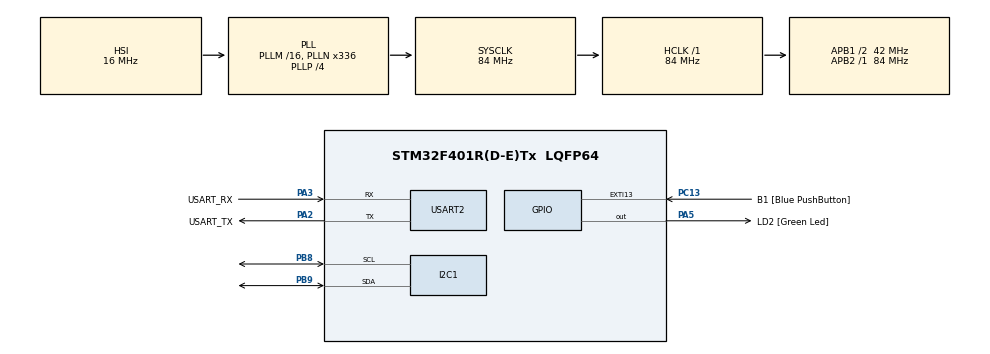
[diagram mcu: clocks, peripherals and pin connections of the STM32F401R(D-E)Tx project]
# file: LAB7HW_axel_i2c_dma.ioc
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Dma.I2C1_RX.0.Direction=DMA_PERIPH_TO_MEMORY
Dma.I2C1_RX.0.FIFOMode=DMA_FIFOMODE_DISABLE
Dma.I2C1_RX.0.Instance=DMA1_Stream0
Dma.I2C1_RX.0.MemDataAlignment=DMA_MDATAALIGN_BYTE
Dma.I2C1_RX.0.MemInc=DMA_MINC_ENABLE
Dma.I2C1_RX.0.Mode=DMA_NORMAL
Dma.I2C1_RX.0.PeriphDataAlignment=DMA_PDATAALIGN_BYTE
Dma.I2C1_RX.0.PeriphInc=DMA_PINC_DISABLE
Dma.I2C1_RX.0.Priority=DMA_PRIORITY_LOW
Dma.Request0=I2C1_RX
Dma.Request1=USART2_TX
Dma.USART2_TX.1.Direction=DMA_MEMORY_TO_PERIPH
Dma.USART2_TX.1.FIFOMode=DMA_FIFOMODE_DISABLE
Dma.USART2_TX.1.Instance=DMA1_Stream6
Dma.USART2_TX.1.MemDataAlignment=DMA_MDATAALIGN_BYTE
Dma.USART2_TX.1.MemInc=DMA_MINC_ENABLE
Dma.USART2_TX.1.Mode=DMA_NORMAL
Dma.USART2_TX.1.PeriphDataAlignment=DMA_PDATAALIGN_BYTE
Dma.USART2_TX.1.PeriphInc=DMA_PINC_DISABLE
Dma.USART2_TX.1.Priority=DMA_PRIORITY_LOW
Mcu.Family=STM32F4
Mcu.Name=STM32F401R(D-E)Tx
Mcu.Package=LQFP64
NVIC.DMA1_Stream0_IRQn=true\:0\:0\:false\:false\:true\:false\:true
NVIC.DMA1_Stream6_IRQn=true\:0\:0\:false\:false\:true\:false\:true
NVIC.I2C1_ER_IRQn=true\:0\:0\:false\:false\:true\:true\:true
NVIC.I2C1_EV_IRQn=true\:0\:0\:false\:false\:true\:true\:true
NVIC.PriorityGroup=NVIC_PRIORITYGROUP_0
NVIC.TIM1_UP_TIM10_IRQn=true\:0\:0\:false\:false\:true\:true\:true
NVIC.USART2_IRQn=true\:0\:0\:false\:false\:true\:true\:true
PA13.GPIO_Label=TMS
PA13.Mode=Serial_Wire
PA13.Signal=SYS_JTMS-SWDIO
PA14.GPIO_Label=TCK
PA14.Mode=Serial_Wire
PA14.Signal=SYS_JTCK-SWCLK
PA2.GPIO_Label=USART_TX
PA2.GPIO_Mode=GPIO_MODE_AF_PP
PA2.GPIO_PuPd=GPIO_NOPULL
PA2.GPIO_Speed=GPIO_SPEED_FREQ_LOW
PA2.Mode=Asynchronous
PA2.Signal=USART2_TX
PA3.GPIO_Label=USART_RX
PA3.GPIO_Mode=GPIO_MODE_AF_PP
PA3.GPIO_PuPd=GPIO_NOPULL
PA3.GPIO_Speed=GPIO_SPEED_FREQ_LOW
PA3.Mode=Asynchronous
PA3.Signal=USART2_RX
PA5.GPIO_Label=LD2 [Green Led]
PA5.GPIO_Mode=GPIO_MODE_OUTPUT_PP
PA5.GPIO_PuPd=GPIO_NOPULL
PA5.GPIO_Speed=GPIO_SPEED_FREQ_LOW
PA5.Signal=GPIO_Output
PB3.GPIO_Label=SWO
PB3.Signal=SYS_JTDO-SWO
PB8.Mode=I2C
PB8.Signal=I2C1_SCL
PB9.Mode=I2C
PB9.Signal=I2C1_SDA
PC13-ANTI_TAMP.GPIO_Label=B1 [Blue PushButton]
PC13-ANTI_TAMP.GPIO_ModeDefaultEXTI=GPIO_MODE_IT_FALLING
PC13-ANTI_TAMP.GPIO_PuPd=GPIO_NOPULL
PC13-ANTI_TAMP.Signal=GPXTI13
PC14-OSC32_IN.Mode=LSE-External-Oscillator
PC14-OSC32_IN.Signal=RCC_OSC32_IN
PC15-OSC32_OUT.Mode=LSE-External-Oscillator
PC15-OSC32_OUT.Signal=RCC_OSC32_OUT
PH0\ -\ OSC_IN.Mode=HSE-External-Clock-Source
PH0\ -\ OSC_IN.Signal=RCC_OSC_IN
PH1\ -\ OSC_OUT.Mode=HSE-External-Clock-Source
PH1\ -\ OSC_OUT.Signal=RCC_OSC_OUT
ProjectManager.HeapSize=0x200
ProjectManager.StackSize=0x400
ProjectManager.TargetToolchain=STM32CubeIDE
RCC.48MHZClocksFreq_Value=48000000
RCC.AHBFreq_Value=84000000
RCC.APB1CLKDivider=RCC_HCLK_DIV2
RCC.APB1Freq_Value=42000000
RCC.APB1TimFreq_Value=84000000
RCC.APB2Freq_Value=84000000
RCC.APB2TimFreq_Value=84000000
RCC.CortexFreq_Value=84000000
RCC.HCLKFreq_Value=84000000
RCC.HSE_VALUE=8000000
RCC.HSI_VALUE=16000000
RCC.PLLN=336
RCC.PLLP=RCC_PLLP_DIV4
RCC.PLLQ=7
RCC.SYSCLKFreq_VALUE=84000000
RCC.SYSCLKSource=RCC_SYSCLKSOURCE_PLLCLK
RCC.VCOOutputFreq_Value=336000000
TIM1.AutoReloadPreload=TIM_AUTORELOAD_PRELOAD_ENABLE
TIM1.Period=21000-1
TIM1.Prescaler=4000-1
USART2.VirtualMode=VM_ASYNC
VP_TIM1_VS_ClockSourceINT.Mode=Internal
board=NUCLEO-F401RE

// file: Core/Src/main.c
/* USER CODE BEGIN Header */
/**
  ******************************************************************************
  * @file           : main.c
  * @brief          : Main program body
  ******************************************************************************
  * @attention
  *
  * <h2><center>&copy; Copyright (c) 2021 STMicroelectronics.
  * All rights reserved.</center></h2>
  *
  * This software component is licensed by ST under BSD 3-Clause license,
  * the "License"; You may not use this file except in compliance with the
  * License. You may obtain a copy of the License at:
  *                        opensource.org/licenses/BSD-3-Clause
  *
  ******************************************************************************
  */
/* USER CODE END Header */
#include "main.h"

/* USER CODE BEGIN Includes */
#include "LIS2DE.h"
#include "stdio.h"

/* USER CODE END Includes */

I2C_HandleTypeDef hi2c1;
DMA_HandleTypeDef hdma_i2c1_rx;

TIM_HandleTypeDef htim1;

UART_HandleTypeDef huart2;
DMA_HandleTypeDef hdma_usart2_tx;

/* USER CODE BEGIN PV */
uint8_t LIS2DE_axel_addr_read = 0;
uint8_t LIS2DE_axel_addr_write = 0;

volatile int8_t i2c_readbuffer[6];

/* USER CODE END PV */

void SystemClock_Config(void);
static void MX_GPIO_Init(void);
static void MX_USART2_UART_Init(void);
static void MX_DMA_Init(void);
static void MX_I2C1_Init(void);
static void MX_TIM1_Init(void);

/* USER CODE BEGIN 0 */
void HAL_TIM_PeriodElapsedCallback(TIM_HandleTypeDef *htim){
	if(htim->Instance == htim1.Instance){
		  uint8_t CTRL_DATA;

		  CTRL_DATA = LIS2DE_OUT_X_H | 0x80; //it's required for sequential write to set the MSB of this reg to 1
		  if(HAL_I2C_Master_Transmit(&hi2c1, LIS2DE_axel_addr_write, &CTRL_DATA, 1, 100) != HAL_OK){
			  Error_Handler();
		  }

		 if(HAL_I2C_Master_Receive_DMA(&hi2c1, LIS2DE_axel_addr_read, (uint8_t *) i2c_readbuffer, 6) != HAL_OK){
			  Error_Handler();
		  }
	}

}

void HAL_I2C_MasterRxCpltCallback(I2C_HandleTypeDef *hi2c)
{
	char message[100];
	int message_length = snprintf(message,100,"X: %+.2f\r\nY: %+.2f\r\nZ: %+.2f\r\n\r\n",
			i2c_readbuffer[0]/64.0, i2c_readbuffer[2]/64.0, i2c_readbuffer[4]/64.0);
	HAL_UART_Transmit_DMA(&huart2, (uint8_t *)message, message_length);
}

/* USER CODE END 0 */

int main(void)
{

  /* MCU Configuration--------------------------------------------------------*/

  /* Reset of all peripherals, Initializes the Flash interface and the Systick. */
  HAL_Init();

  /* Configure the system clock */
  SystemClock_Config();

  /* USER CODE BEGIN SysInit */
  MX_DMA_Init();

  /* USER CODE END SysInit */

  /* Initialize all configured peripherals */
  MX_GPIO_Init();
  MX_USART2_UART_Init();
  MX_DMA_Init();
  MX_I2C1_Init();
  MX_TIM1_Init();
  /* USER CODE BEGIN 2 */

  /* NOTICE!
   * In this section we are using the non-dma uart, as
   * with the DMA it looks like there is not enough time between writes
   * and each write gets overwritten by the next. One solution found
   * was using delays after each call, but we belive is better to use
   * the proper blocking function, especially considering that this is a
   * setup phase, so doesn't waste actual loop clocks
   */
  HAL_I2C_Init(&hi2c1);
  {
	 char message[100];
	 int message_length = snprintf(message,100,"LIS2DE i2c MULTI READ DEMO START\r\n");
	 HAL_UART_Transmit(&huart2, (uint8_t *)message, message_length, 100);
	 HAL_Delay(1);
  }
  // auto-addr
if(HAL_I2C_Master_Transmit(&hi2c1, LIS2DE_ADDR_READ, 0, 1, 100) == HAL_OK){

	 char message[100];
	 int message_length = snprintf(message,100,"LIS2DE FOUND\r\n");
	 HAL_UART_Transmit(&huart2, (uint8_t *)message, message_length, 100);

	 LIS2DE_axel_addr_read  = LIS2DE_ADDR_READ;
	 LIS2DE_axel_addr_write = LIS2DE_ADDR_WRITE;

}
else if(HAL_I2C_Master_Transmit(&hi2c1, LIS2DE12_ADDR_READ, 0, 1, 100) == HAL_OK){

	 char message[100];
	 int message_length = snprintf(message,100,"LIS2DE12 FOUND\r\n");
	 HAL_UART_Transmit(&huart2, (uint8_t *)message, message_length, 100);

	 LIS2DE_axel_addr_read  = LIS2DE12_ADDR_READ;
	 LIS2DE_axel_addr_write = LIS2DE12_ADDR_WRITE;

}
else{
	 char message[100];
	 int message_length = snprintf(message,100,"NO LIS2DE FOUND\r\n");
	 HAL_UART_Transmit(&huart2, (uint8_t *)message, message_length, 100);
	 Error_Handler();
}

  uint8_t CTRL_DATA[2];
  CTRL_DATA[0] = LIS2DE_CTRL_REG1;
  CTRL_DATA[1] = 0b00011111;

  if(HAL_I2C_Master_Transmit(&hi2c1, LIS2DE_axel_addr_write, CTRL_DATA, 2, 100) == HAL_OK){

		 char message[100];
		 int message_length = snprintf(message,100,"LIS2DE OK: CTRL REG1\r\n");
		 HAL_UART_Transmit(&huart2, (uint8_t *)message, message_length, 100);

  }
  else{
		 char message[100];
		 int message_length = snprintf(message,100,"LIS2DE ERROR: CTRL REG 1\r\n");
		 HAL_UART_Transmit(&huart2, (uint8_t *)message, message_length, 100);

  }

  HAL_TIM_Base_Start_IT(&htim1);
  /* USER CODE END 2 */

  /* Infinite loop */
  while (1)
  {

  }
}

void SystemClock_Config(void)
{
  RCC_OscInitTypeDef RCC_OscInitStruct = {0};
  RCC_ClkInitTypeDef RCC_ClkInitStruct = {0};

  /** Configure the main internal regulator output voltage
  */
  __HAL_RCC_PWR_CLK_ENABLE();
  __HAL_PWR_VOLTAGESCALING_CONFIG(PWR_REGULATOR_VOLTAGE_SCALE2);
  /** Initializes the RCC Oscillators according to the specified parameters
  * in the RCC_OscInitTypeDef structure.
  */
  RCC_OscInitStruct.OscillatorType = RCC_OSCILLATORTYPE_HSI;
  RCC_OscInitStruct.HSIState = RCC_HSI_ON;
  RCC_OscInitStruct.HSICalibrationValue = RCC_HSICALIBRATION_DEFAULT;
  RCC_OscInitStruct.PLL.PLLState = RCC_PLL_ON;
  RCC_OscInitStruct.PLL.PLLSource = RCC_PLLSOURCE_HSI;
  RCC_OscInitStruct.PLL.PLLM = 16;
  RCC_OscInitStruct.PLL.PLLN = 336;
  RCC_OscInitStruct.PLL.PLLP = RCC_PLLP_DIV4;
  RCC_OscInitStruct.PLL.PLLQ = 7;
  if (HAL_RCC_OscConfig(&RCC_OscInitStruct) != HAL_OK)
  {
    Error_Handler();
  }
  /** Initializes the CPU, AHB and APB buses clocks
  */
  RCC_ClkInitStruct.ClockType = RCC_CLOCKTYPE_HCLK|RCC_CLOCKTYPE_SYSCLK
                              |RCC_CLOCKTYPE_PCLK1|RCC_CLOCKTYPE_PCLK2;
  RCC_ClkInitStruct.SYSCLKSource = RCC_SYSCLKSOURCE_PLLCLK;
  RCC_ClkInitStruct.AHBCLKDivider = RCC_SYSCLK_DIV1;
  RCC_ClkInitStruct.APB1CLKDivider = RCC_HCLK_DIV2;
  RCC_ClkInitStruct.APB2CLKDivider = RCC_HCLK_DIV1;

  if (HAL_RCC_ClockConfig(&RCC_ClkInitStruct, FLASH_LATENCY_2) != HAL_OK)
  {
    Error_Handler();
  }
}

static void MX_I2C1_Init(void)
{

  hi2c1.Instance = I2C1;
  hi2c1.Init.ClockSpeed = 100000;
  hi2c1.Init.DutyCycle = I2C_DUTYCYCLE_2;
  hi2c1.Init.OwnAddress1 = 0;
  hi2c1.Init.AddressingMode = I2C_ADDRESSINGMODE_7BIT;
  hi2c1.Init.DualAddressMode = I2C_DUALADDRESS_DISABLE;
  hi2c1.Init.OwnAddress2 = 0;
  hi2c1.Init.GeneralCallMode = I2C_GENERALCALL_DISABLE;
  hi2c1.Init.NoStretchMode = I2C_NOSTRETCH_DISABLE;
  if (HAL_I2C_Init(&hi2c1) != HAL_OK)
  {
    Error_Handler();
  }

}

static void MX_TIM1_Init(void)
{

  TIM_ClockConfigTypeDef sClockSourceConfig = {0};
  TIM_MasterConfigTypeDef sMasterConfig = {0};

  htim1.Instance = TIM1;
  htim1.Init.Prescaler = 4000-1;
  htim1.Init.CounterMode = TIM_COUNTERMODE_UP;
  htim1.Init.Period = 21000-1;
  htim1.Init.ClockDivision = TIM_CLOCKDIVISION_DIV1;
  htim1.Init.RepetitionCounter = 0;
  htim1.Init.AutoReloadPreload = TIM_AUTORELOAD_PRELOAD_ENABLE;
  if (HAL_TIM_Base_Init(&htim1) != HAL_OK)
  {
    Error_Handler();
  }
  sClockSourceConfig.ClockSource = TIM_CLOCKSOURCE_INTERNAL;
  if (HAL_TIM_ConfigClockSource(&htim1, &sClockSourceConfig) != HAL_OK)
  {
    Error_Handler();
  }
  sMasterConfig.MasterOutputTrigger = TIM_TRGO_RESET;
  sMasterConfig.MasterSlaveMode = TIM_MASTERSLAVEMODE_DISABLE;
  if (HAL_TIMEx_MasterConfigSynchronization(&htim1, &sMasterConfig) != HAL_OK)
  {
    Error_Handler();
  }

}

static void MX_USART2_UART_Init(void)
{

  huart2.Instance = USART2;
  huart2.Init.BaudRate = 115200;
  huart2.Init.WordLength = UART_WORDLENGTH_8B;
  huart2.Init.StopBits = UART_STOPBITS_1;
  huart2.Init.Parity = UART_PARITY_NONE;
  huart2.Init.Mode = UART_MODE_TX_RX;
  huart2.Init.HwFlowCtl = UART_HWCONTROL_NONE;
  huart2.Init.OverSampling = UART_OVERSAMPLING_16;
  if (HAL_UART_Init(&huart2) != HAL_OK)
  {
    Error_Handler();
  }

}

static void MX_DMA_Init(void)
{

  /* DMA controller clock enable */
  __HAL_RCC_DMA1_CLK_ENABLE();

  /* DMA interrupt init */
  /* DMA1_Stream0_IRQn interrupt configuration */
  HAL_NVIC_SetPriority(DMA1_Stream0_IRQn, 0, 0);
  HAL_NVIC_EnableIRQ(DMA1_Stream0_IRQn);
  /* DMA1_Stream6_IRQn interrupt configuration */
  HAL_NVIC_SetPriority(DMA1_Stream6_IRQn, 0, 0);
  HAL_NVIC_EnableIRQ(DMA1_Stream6_IRQn);

}

static void MX_GPIO_Init(void)
{
  GPIO_InitTypeDef GPIO_InitStruct = {0};

  /* GPIO Ports Clock Enable */
  __HAL_RCC_GPIOC_CLK_ENABLE();
  __HAL_RCC_GPIOH_CLK_ENABLE();
  __HAL_RCC_GPIOA_CLK_ENABLE();
  __HAL_RCC_GPIOB_CLK_ENABLE();

  /*Configure GPIO pin Output Level */
  HAL_GPIO_WritePin(LD2_GPIO_Port, LD2_Pin, GPIO_PIN_RESET);

  /*Configure GPIO pin : B1_Pin */
  GPIO_InitStruct.Pin = B1_Pin;
  GPIO_InitStruct.Mode = GPIO_MODE_IT_FALLING;
  GPIO_InitStruct.Pull = GPIO_NOPULL;
  HAL_GPIO_Init(B1_GPIO_Port, &GPIO_InitStruct);

  /*Configure GPIO pin : LD2_Pin */
  GPIO_InitStruct.Pin = LD2_Pin;
  GPIO_InitStruct.Mode = GPIO_MODE_OUTPUT_PP;
  GPIO_InitStruct.Pull = GPIO_NOPULL;
  GPIO_InitStruct.Speed = GPIO_SPEED_FREQ_LOW;
  HAL_GPIO_Init(LD2_GPIO_Port, &GPIO_InitStruct);

}

void Error_Handler(void)
{
  __disable_irq();
  while (1)
  {
  }
}

/************************ (C) COPYRIGHT STMicroelectronics *****END OF FILE****/
